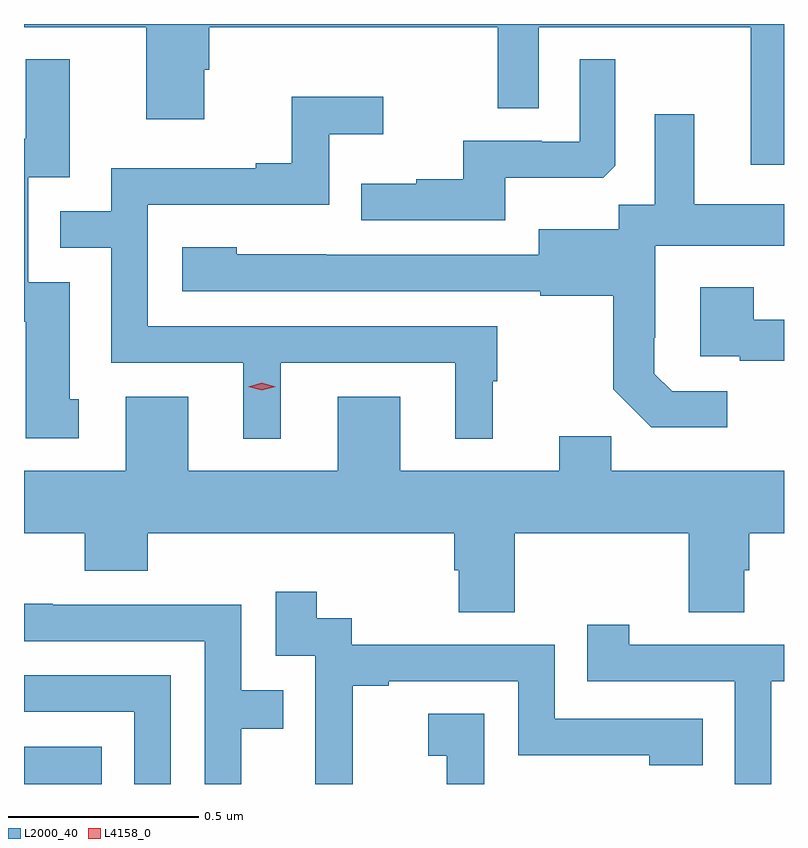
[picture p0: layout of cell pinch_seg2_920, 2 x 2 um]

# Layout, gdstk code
import gdstk
lib = gdstk.Library(unit=1e-6, precision=1e-09)
def R(c, l, rs):  # rectangles x0, y0, x1, y1
    for r in rs: c.add(gdstk.rectangle(r[:2], r[2:], *l))
def P(c, l, *ps):  # polygons
    for p in ps: c.add(gdstk.Polygon(p, *l))
L2000_40 = (2000, 40)
L4158_0 = (4158, 0)

pinch_seg2_920 = lib.new_cell('pinch_seg2_920')
R(pinch_seg2_920, L2000_40, [(412.399,599.024,412.604,599.122)])
P(pinch_seg2_920, L2000_40, [(414.399,601.024),(412.399,601.024),(412.399,601.016),(412.721,601.016),(412.721,600.774),(412.873,600.774),(412.873,600.903),(412.886,600.903),(412.886,601.016),(413.646,601.016),(413.646,600.802),(413.754,600.802),(413.754,601.016),(414.311,601.016),(414.311,600.654),(414.399,600.654)],
  [(412.543,600.036),(412.519,600.036),(412.519,600.345),(412.41,600.345),(412.41,600.621),(412.519,600.621),(412.519,600.931),(412.403,600.931),(412.403,600.722),(412.399,600.722),(412.399,600.24),(412.403,600.24),(412.403,599.934),(412.543,599.934)],
  [(413.665,600.62),(413.923,600.62),(413.955,600.651),(413.955,600.931),(413.862,600.931),(413.862,600.714),(413.762,600.714),(413.762,600.717),(413.555,600.717),(413.555,600.616),(413.431,600.616),(413.431,600.604),(413.287,600.604),(413.287,600.507),(413.665,600.507)],
  [(413.074,600.132),(413.534,600.132),(413.534,599.933),(413.632,599.933),(413.632,600.084),(413.644,600.084),(413.644,600.228),(412.725,600.228),(412.725,600.549),(413.202,600.549),(413.202,600.734),(413.344,600.734),(413.344,600.833),(413.104,600.833),(413.104,600.658),(413.009,600.658),(413.009,600.645),(412.629,600.645),(412.629,600.531),(412.495,600.531),(412.495,600.435),(412.629,600.435),(412.629,600.132),(412.976,600.132),(412.976,599.933),(413.074,599.933)],
  [(414.25,600.057),(414.105,600.057),(414.058,600.104),(414.058,600.199),(414.06,600.199),(414.06,600.44),(414.399,600.44),(414.399,600.55),(414.163,600.55),(414.163,600.787),(414.059,600.787),(414.059,600.548),(413.964,600.548),(413.964,600.484),(413.753,600.484),(413.753,600.417),(413.195,600.417),(413.195,600.418),(412.959,600.418),(412.959,600.436),(412.815,600.436),(412.815,600.321),(413.757,600.321),(413.757,600.309),(413.949,600.309),(413.949,600.063),(414.049,599.963),(414.25,599.963)],
  [(414.399,600.246),(414.319,600.246),(414.319,600.331),(414.179,600.331),(414.179,600.15),(414.283,600.15),(414.283,600.138),(414.399,600.138)],
  [(413.531,599.586),(413.543,599.586),(413.543,599.476),(413.691,599.476),(413.691,599.684),(414.148,599.684),(414.148,599.476),(414.295,599.476),(414.295,599.586),(414.308,599.586),(414.308,599.684),(414.399,599.684),(414.399,599.848),(413.945,599.848),(413.945,599.939),(413.807,599.939),(413.807,599.848),(413.389,599.848),(413.389,600.043),(413.225,600.043),(413.225,599.848),(412.831,599.848),(412.831,600.043),(412.667,600.043),(412.667,599.848),(412.399,599.848),(412.399,599.684),(412.559,599.684),(412.559,599.585),(412.724,599.585),(412.724,599.684),(413.531,599.684)],
  [(413.264,599.283),(413.359,599.283),(413.359,599.295),(413.7,599.295),(413.7,599.1),(414.045,599.1),(414.045,599.073),(414.185,599.073),(414.185,599.196),(413.796,599.196),(413.796,599.391),(413.262,599.391),(413.262,599.46),(413.17,599.46),(413.17,599.53),(413.061,599.53),(413.061,599.361),(413.166,599.361),(413.166,599.132),(413.165,599.132),(413.165,599.024),(413.264,599.024)],
  [(412.971,599.17),(413.081,599.17),(413.081,599.271),(412.971,599.271),(412.971,599.496),(412.475,599.496),(412.475,599.498),(412.399,599.498),(412.399,599.4),(412.875,599.4),(412.875,599.024),(412.971,599.024)],
  [(414.366,599.295),(414.399,599.295),(414.399,599.391),(413.992,599.391),(413.992,599.443),(413.881,599.443),(413.881,599.295),(414.27,599.295),(414.27,599.024),(414.366,599.024)],
  [(412.785,599.31),(412.399,599.31),(412.399,599.214),(412.689,599.214),(412.689,599.024),(412.785,599.024)],
  [(413.61,599.209),(413.463,599.209),(413.463,599.099),(413.512,599.099),(413.512,599.024),(413.61,599.024)])
P(pinch_seg2_920, L4158_0, [(413.025,600.06),(412.989,600.07),(412.989,600.07),(412.989,600.07),(413.025,600.08),(413.061,600.07),(413.061,600.07),(413.061,600.07)])

lib.write_gds('pinch_seg2_920.gds')
